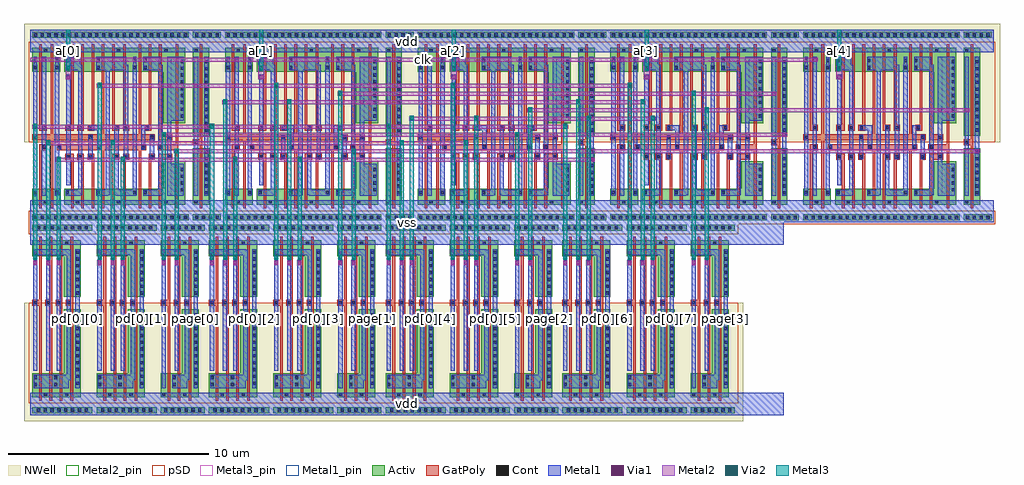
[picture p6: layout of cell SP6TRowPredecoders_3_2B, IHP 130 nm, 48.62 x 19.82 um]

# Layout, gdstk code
import gdstk
lib = gdstk.Library(unit=1e-6, precision=1e-09)
def R(c, l, rs):  # rectangles x0, y0, x1, y1
    for r in rs: c.add(gdstk.rectangle(r[:2], r[2:], *l))
def A(c, l, x, y, w, h, nx, ny, dx, dy):  # array of equal rectangles
    R(c, l, [(x+i*dx, y+j*dy, x+i*dx+w, y+j*dy+h) for i in range(nx) for j in range(ny)])
def P(c, l, *ps):  # polygons
    for p in ps: c.add(gdstk.Polygon(p, *l))
Activ = (1, 0)
GatPoly = (5, 0)
Cont = (6, 0)
Metal1 = (8, 0)
Metal1_pin = (8, 2)
Metal2 = (10, 0)
Metal2_pin = (10, 2)
pSD = (14, 0)
Via1 = (19, 0)
Via2 = (29, 0)
Metal3 = (30, 0)
Metal3_pin = (30, 2)
NWell = (31, 0)

sp6tdec_dff_x1 = lib.new_cell('SP6TDec_dff_x1')
R(sp6tdec_dff_x1, Activ, [(0.105,0.105,7.895,0.405), (0.105,0.89,1.485,1.67), (0.105,7.51,1.485,8.71), (0.105,9.195,7.895,9.495)])
P(sp6tdec_dff_x1, Activ, [(6.615,4.94),(6.615,7.51),(1.695,7.51),(1.695,8.71),(7.725,8.71),(7.725,4.94)],
  [(1.695,0.89),(1.695,1.67),(6.615,1.67),(6.615,3.06),(7.725,3.06),(7.725,0.89)])
P(sp6tdec_dff_x1, GatPoly, [(2.035,0.71),(2.035,3.13),(1.755,3.13),(1.755,3.43),(2.165,3.43),(2.165,0.71)],
  [(6.415,4.09),(6.415,8.89),(6.545,8.89),(6.545,4.39),(7.075,4.39),(7.075,4.09)],
  [(1.755,4.57),(1.755,4.87),(2.035,4.87),(2.035,8.89),(2.165,8.89),(2.165,4.57)],
  [(6.415,0.71),(6.415,3.43),(7.075,3.43),(7.075,3.13),(6.545,3.13),(6.545,0.71)],
  [(5.905,0.71),(5.905,3.43),(6.215,3.43),(6.215,3.13),(6.035,3.13),(6.035,0.71)],
  [(2.545,0.71),(2.545,3.13),(2.345,3.13),(2.345,3.43),(2.675,3.43),(2.675,0.71)],
  [(3.055,0.71),(3.055,3.13),(2.855,3.13),(2.855,3.43),(3.185,3.43),(3.185,0.71)],
  [(0.445,0.71),(0.445,3.91),(0.835,3.91),(0.835,3.61),(0.575,3.61),(0.575,0.71)],
  [(3.565,0.71),(3.565,3.61),(1.325,3.61),(1.325,3.91),(5.785,3.91),(5.785,3.61),(5.525,3.61),(5.525,0.71),(5.395,0.71),(5.395,3.61),(3.695,3.61),(3.695,0.71)],
  [(4.625,0.71),(4.625,3.43),(4.925,3.43),(4.925,3.13),(4.755,3.13),(4.755,0.71)],
  [(4.075,0.71),(4.075,3.43),(4.445,3.43),(4.445,3.13),(4.205,3.13),(4.205,0.71)],
  [(7.255,0.71),(7.255,3.61),(6.345,3.61),(6.345,3.91),(7.255,3.91),(7.255,8.89),(7.385,8.89),(7.385,0.71)],
  [(1.015,0.71),(1.015,4.09),(0.105,4.09),(0.105,4.39),(1.015,4.39),(1.015,8.89),(1.145,8.89),(1.145,4.39),(3.565,4.39),(3.565,8.89),(3.695,8.89),(3.695,4.39),(5.395,4.39),(5.395,8.89),(5.525,8.89),(5.525,4.39),(6.215,4.39),(6.215,4.09),(1.145,4.09),(1.145,0.71)],
  [(4.625,4.57),(4.625,8.89),(4.755,8.89),(4.755,4.87),(4.925,4.87),(4.925,4.57)],
  [(4.075,4.57),(4.075,8.89),(4.205,8.89),(4.205,4.87),(4.445,4.87),(4.445,4.57)],
  [(0.445,4.57),(0.445,8.89),(0.575,8.89),(0.575,4.87),(0.835,4.87),(0.835,4.57)],
  [(2.345,4.57),(2.345,4.87),(2.545,4.87),(2.545,8.89),(2.675,8.89),(2.675,4.57)],
  [(2.855,4.57),(2.855,4.87),(3.055,4.87),(3.055,8.89),(3.185,8.89),(3.185,4.57)],
  [(5.705,4.57),(5.705,4.87),(5.905,4.87),(5.905,8.89),(6.035,8.89),(6.035,4.57)])
A(sp6tdec_dff_x1, Cont, 0.18, 0.175, 0.16, 0.16, 23, 2, 0.34, 9.09)
A(sp6tdec_dff_x1, Cont, 7.495, 1.545, 0.16, 0.16, 1, 4, 0, 0.34)
A(sp6tdec_dff_x1, Cont, 7.495, 5.225, 0.16, 0.16, 1, 9, 0, 0.34)
R(sp6tdec_dff_x1, Cont, [(0.685,0.96,0.845,1.12), (2.275,0.96,2.435,1.12), (4.315,0.96,4.475,1.12), (6.685,0.96,6.845,1.12), (0.175,1.415,0.335,1.575), (1.255,1.415,1.415,1.575), (1.765,1.415,1.925,1.575), (3.295,1.415,3.455,1.575), (5.125,1.415,5.285,1.575), (5.635,1.415,5.795,1.575), (1.825,3.2,1.985,3.36), (2.415,3.2,2.575,3.36), (2.925,3.2,3.085,3.36), (4.215,3.2,4.375,3.36), (4.695,3.2,4.855,3.36), (5.985,3.2,6.145,3.36), (6.845,3.2,7.005,3.36), (0.605,3.68,0.765,3.84), (1.395,3.68,1.555,3.84), (3.355,3.68,3.515,3.84), (5.555,3.68,5.715,3.84), (6.415,3.68,6.575,3.84), (0.175,4.16,0.335,4.32), (2.925,4.16,3.085,4.32), (5.985,4.16,6.145,4.32), (6.845,4.16,7.005,4.32), (0.605,4.64,0.765,4.8), (1.825,4.64,1.985,4.8), (2.415,4.64,2.575,4.8), (2.925,4.64,3.085,4.8), (4.215,4.64,4.375,4.8), (4.695,4.64,4.855,4.8), (5.775,4.64,5.935,4.8), (0.175,7.645,0.335,7.805), (1.255,7.645,1.415,7.805), (1.765,7.645,1.925,7.805), (3.295,7.645,3.455,7.805), (5.125,7.645,5.285,7.805), (5.635,7.645,5.795,7.805), (0.175,7.985,0.335,8.145), (1.255,7.985,1.415,8.145), (1.765,7.985,1.925,8.145), (3.295,7.985,3.455,8.145), (5.125,7.985,5.285,8.145), (5.635,7.985,5.795,8.145), (0.685,8.48,0.845,8.64), (2.275,8.48,2.435,8.64), (4.315,8.48,4.475,8.64), (6.685,8.48,6.845,8.64)])
R(sp6tdec_dff_x1, Metal1, [(0,0,8,1.12), (0.58,1.34,0.79,8.26), (1.8,1.845,2.01,7.375), (2.9,3.15,3.11,4.37), (5.96,3.15,6.17,4.37), (0,8.48,8,9.6)])
P(sp6tdec_dff_x1, Metal1, [(0.175,1.34),(0.175,1.365),(0.15,1.365),(0.15,7.855),(0.175,7.855),(0.175,8.26),(0.335,8.26),(0.335,7.855),(0.36,7.855),(0.36,1.365),(0.335,1.365),(0.335,1.34)],
  [(5.53,3.63),(5.53,4.85),(5.935,4.85),(5.935,4.59),(5.74,4.59),(5.74,3.63)],
  [(3.33,3.63),(3.33,4.59),(2.925,4.59),(2.925,4.85),(3.54,4.85),(3.54,3.63)],
  [(3.295,1.34),(3.295,1.625),(3.76,1.625),(3.76,7.595),(3.295,7.595),(3.295,8.26),(4.775,8.26),(4.775,7.855),(4.88,7.855),(4.88,3.15),(4.67,3.15),(4.67,7.595),(3.97,7.595),(3.97,1.365),(3.865,1.365),(3.865,1.34)],
  [(1.255,1.34),(1.255,1.365),(1.23,1.365),(1.23,7.855),(1.255,7.855),(1.255,8.26),(1.415,8.26),(1.415,7.855),(1.44,7.855),(1.44,3.89),(1.555,3.89),(1.555,3.63),(1.44,3.63),(1.44,1.365),(1.415,1.365),(1.415,1.34)],
  [(1.765,1.34),(1.765,1.625),(2.39,1.625),(2.39,7.595),(1.765,7.595),(1.765,8.26),(2.495,8.26),(2.495,7.855),(2.6,7.855),(2.6,1.365),(2.495,1.365),(2.495,1.34)],
  [(4.295,1.34),(4.295,1.365),(4.19,1.365),(4.19,4.85),(4.4,4.85),(4.4,1.625),(5.1,1.625),(5.1,7.855),(5.125,7.855),(5.125,8.26),(5.285,8.26),(5.285,7.855),(5.31,7.855),(5.31,1.365),(5.285,1.365),(5.285,1.34)],
  [(5.635,1.34),(5.635,1.625),(6.39,1.625),(6.39,7.595),(5.635,7.595),(5.635,8.26),(6.495,8.26),(6.495,7.855),(6.6,7.855),(6.6,1.365),(6.495,1.365),(6.495,1.34)],
  [(6.82,1.34),(6.82,8.26),(7.655,8.26),(7.655,5.07),(7.03,5.07),(7.03,2.93),(7.655,2.93),(7.655,1.34)])
R(sp6tdec_dff_x1, Metal1_pin, [(0,0,8,1.12), (0.58,1.34,0.79,8.26), (6.82,1.34,7.03,8.26), (1.8,1.845,2.01,7.375), (0,8.48,8,9.6)])
R(sp6tdec_dff_x1, pSD, [(-0.075,-0.075,8.075,0.585), (-0.075,4,8.075,9.01)])
R(sp6tdec_dff_x1, NWell, [(-0.31,4,8.31,9.91)])
sp6tdec_dff_x1.add(gdstk.Label('vdd', (4,9.04), layer=8, texttype=25))
sp6tdec_dff_x1.add(gdstk.Label('vss', (4,0.56), layer=8, texttype=25))
sp6tdec_dff_x1.add(gdstk.Label('clk', (0.685,4.8), layer=8, texttype=25))
sp6tdec_dff_x1.add(gdstk.Label('i', (1.905,4.61), layer=8, texttype=25))
sp6tdec_dff_x1.add(gdstk.Label('q', (6.925,4.8), layer=8, texttype=25))

sp6tdec_inv_x1 = lib.new_cell('SP6TDec_inv_x1')
R(sp6tdec_inv_x1, Activ, [(0.105,0.105,1.495,0.405), (0.105,0.89,0.915,3.69), (0.105,4.31,0.915,8.71), (0.105,9.195,1.495,9.495)])
P(sp6tdec_inv_x1, GatPoly, [(0.445,0.71),(0.445,3.85),(0.105,3.85),(0.105,4.15),(0.445,4.15),(0.445,8.89),(0.575,8.89),(0.575,0.71)])
A(sp6tdec_inv_x1, Cont, 0.21, 0.175, 0.16, 0.16, 4, 2, 0.34, 9.09)
A(sp6tdec_inv_x1, Cont, 0.685, 1.395, 0.16, 0.16, 1, 7, 0, 0.34)
A(sp6tdec_inv_x1, Cont, 0.685, 4.525, 0.16, 0.16, 1, 11, 0, 0.34)
R(sp6tdec_inv_x1, Cont, [(0.175,0.96,0.335,1.12), (0.175,3.92,0.335,4.08), (0.175,8.48,0.335,8.64)])
R(sp6tdec_inv_x1, Metal1, [(0,0,1.6,1.12), (0.15,1.34,0.36,8.26), (0.66,1.34,0.87,8.26), (0,8.48,1.6,9.6)])
R(sp6tdec_inv_x1, Metal1_pin, [(0,0,1.6,1.12), (0.15,1.34,0.36,8.26), (0.66,1.34,0.87,8.26), (0,8.48,1.6,9.6)])
R(sp6tdec_inv_x1, pSD, [(-0.075,-0.075,1.675,0.585), (-0.075,4,1.675,9.01)])
R(sp6tdec_inv_x1, NWell, [(-0.31,4,1.91,9.91)])
sp6tdec_inv_x1.add(gdstk.Label('vss', (0.8,0.56), layer=8, texttype=25))
sp6tdec_inv_x1.add(gdstk.Label('vdd', (0.8,9.04), layer=8, texttype=25))
sp6tdec_inv_x1.add(gdstk.Label('nq', (0.765,4.8), layer=8, texttype=25))
sp6tdec_inv_x1.add(gdstk.Label('i', (0.255,4.8), layer=8, texttype=25))

sp6tdec_and3_x1 = lib.new_cell('SP6TDec_and3_x1')
R(sp6tdec_and3_x1, Activ, [(0.105,0.105,3.095,0.405), (0.105,9.195,3.095,9.495)])
P(sp6tdec_and3_x1, Activ, [(1.665,4.31),(1.665,7.51),(0.105,7.51),(0.105,8.71),(2.505,8.71),(2.505,4.31)],
  [(0.105,0.89),(0.105,1.67),(1.665,1.67),(1.665,3.69),(2.505,3.69),(2.505,0.89)])
P(sp6tdec_and3_x1, GatPoly, [(2.005,0.71),(2.005,3.85),(1.775,3.85),(1.775,4.15),(2.005,4.15),(2.005,8.89),(2.135,8.89),(2.135,0.71)],
  [(0.445,0.71),(0.445,3.85),(0.105,3.85),(0.105,4.15),(0.445,4.15),(0.445,8.89),(0.575,8.89),(0.575,0.71)],
  [(0.955,0.71),(0.955,3.85),(0.755,3.85),(0.755,4.15),(0.955,4.15),(0.955,8.89),(1.085,8.89),(1.085,0.71)],
  [(1.465,0.71),(1.465,3.85),(1.265,3.85),(1.265,4.15),(1.465,4.15),(1.465,8.89),(1.595,8.89),(1.595,0.71)])
A(sp6tdec_and3_x1, Cont, 0.33, 0.175, 0.16, 0.16, 8, 2, 0.34, 9.09)
A(sp6tdec_and3_x1, Cont, 2.275, 1.395, 0.16, 0.16, 1, 7, 0, 0.34)
A(sp6tdec_and3_x1, Cont, 0.825, 3.92, 0.16, 0.16, 3, 1, 0.51, 0)
A(sp6tdec_and3_x1, Cont, 2.275, 4.525, 0.16, 0.16, 1, 11, 0, 0.34)
R(sp6tdec_and3_x1, Cont, [(1.735,0.96,1.895,1.12), (0.175,1.415,0.335,1.575), (0.175,3.92,0.335,4.08), (0.175,7.645,0.335,7.805), (1.195,7.645,1.355,7.805), (0.175,7.985,0.335,8.145), (1.195,7.985,1.355,8.145), (0.685,8.48,0.845,8.64), (1.735,8.48,1.895,8.64)])
R(sp6tdec_and3_x1, Metal1, [(0,0,3.2,1.12), (2.25,1.34,2.46,8.26), (0.15,1.845,0.36,7.375), (0.8,1.845,1.01,7.375), (1.31,1.845,1.52,7.375), (0,8.48,3.2,9.6)])
P(sp6tdec_and3_x1, Metal1, [(0.175,1.34),(0.175,1.625),(1.82,1.625),(1.82,7.595),(0.175,7.595),(0.175,8.26),(1.925,8.26),(1.925,7.855),(2.03,7.855),(2.03,1.365),(1.925,1.365),(1.925,1.34)])
R(sp6tdec_and3_x1, Metal1_pin, [(0,0,3.2,1.12), (2.25,1.34,2.46,8.26), (0.15,1.845,0.36,7.375), (0.8,1.845,1.01,7.375), (1.31,1.845,1.52,7.375), (0,8.48,3.2,9.6)])
R(sp6tdec_and3_x1, pSD, [(-0.075,-0.075,3.275,0.585), (-0.075,4,3.275,9.01)])
R(sp6tdec_and3_x1, NWell, [(-0.31,4,3.51,9.91)])
sp6tdec_and3_x1.add(gdstk.Label('vdd', (1.6,9.04), layer=8, texttype=25))
sp6tdec_and3_x1.add(gdstk.Label('vss', (1.6,0.56), layer=8, texttype=25))
sp6tdec_and3_x1.add(gdstk.Label('i0', (0.255,4.61), layer=8, texttype=25))
sp6tdec_and3_x1.add(gdstk.Label('i1', (0.905,4.61), layer=8, texttype=25))
sp6tdec_and3_x1.add(gdstk.Label('i2', (1.415,4.61), layer=8, texttype=25))
sp6tdec_and3_x1.add(gdstk.Label('q', (2.355,4.8), layer=8, texttype=25))

sp6tdec_and2_x1 = lib.new_cell('SP6TDec_and2_x1')
R(sp6tdec_and2_x1, Activ, [(0.105,0.105,2.295,0.405), (0.105,9.195,2.295,9.495)])
P(sp6tdec_and2_x1, Activ, [(0.105,0.89),(0.105,1.67),(1.155,1.67),(1.155,3.69),(1.995,3.69),(1.995,0.89)],
  [(1.155,4.31),(1.155,7.51),(0.105,7.51),(0.105,8.71),(1.995,8.71),(1.995,4.31)])
P(sp6tdec_and2_x1, GatPoly, [(1.495,0.71),(1.495,3.85),(1.265,3.85),(1.265,4.15),(1.495,4.15),(1.495,8.89),(1.625,8.89),(1.625,0.71)],
  [(0.445,0.71),(0.445,3.85),(0.105,3.85),(0.105,4.15),(0.445,4.15),(0.445,8.89),(0.575,8.89),(0.575,0.71)],
  [(0.955,0.71),(0.955,3.85),(0.755,3.85),(0.755,4.15),(0.955,4.15),(0.955,8.89),(1.085,8.89),(1.085,0.71)])
A(sp6tdec_and2_x1, Cont, 0.27, 0.175, 0.16, 0.16, 6, 2, 0.34, 9.09)
A(sp6tdec_and2_x1, Cont, 1.765, 1.395, 0.16, 0.16, 1, 7, 0, 0.34)
A(sp6tdec_and2_x1, Cont, 1.765, 4.525, 0.16, 0.16, 1, 11, 0, 0.34)
R(sp6tdec_and2_x1, Cont, [(1.225,0.96,1.385,1.12), (0.175,1.415,0.335,1.575), (0.175,3.92,0.335,4.08), (0.825,3.92,0.985,4.08), (1.335,3.92,1.495,4.08), (0.685,7.645,0.845,7.805), (0.685,7.985,0.845,8.145), (0.175,8.48,0.335,8.64), (1.225,8.48,1.385,8.64)])
R(sp6tdec_and2_x1, Metal1, [(0,0,2.4,1.12), (1.74,1.34,1.95,8.26), (0.15,1.845,0.36,8.26), (0.8,1.845,1.01,7.375), (0,8.48,2.4,9.6)])
P(sp6tdec_and2_x1, Metal1, [(0.175,1.34),(0.175,1.625),(1.31,1.625),(1.31,7.595),(0.685,7.595),(0.685,8.26),(1.415,8.26),(1.415,7.855),(1.52,7.855),(1.52,1.365),(1.415,1.365),(1.415,1.34)])
R(sp6tdec_and2_x1, Metal1_pin, [(0,0,2.4,1.12), (1.74,1.34,1.95,8.26), (0.15,1.845,0.36,8.26), (0.8,1.845,1.01,7.375), (0,8.48,2.4,9.6)])
R(sp6tdec_and2_x1, pSD, [(-0.075,-0.075,2.475,0.585), (-0.075,4,2.475,9.01)])
R(sp6tdec_and2_x1, NWell, [(-0.31,4,2.71,9.91)])
sp6tdec_and2_x1.add(gdstk.Label('vdd', (1.2,9.04), layer=8, texttype=25))
sp6tdec_and2_x1.add(gdstk.Label('vss', (1.2,0.56), layer=8, texttype=25))
sp6tdec_and2_x1.add(gdstk.Label('i0', (0.255,5.053), layer=8, texttype=25))
sp6tdec_and2_x1.add(gdstk.Label('i1', (0.905,4.61), layer=8, texttype=25))
sp6tdec_and2_x1.add(gdstk.Label('q', (1.845,4.8), layer=8, texttype=25))

sp6trowpredecoders_3_2b = lib.new_cell('SP6TRowPredecoders_3_2B')
A(sp6trowpredecoders_3_2b, Metal1, 1.8, 16.685, 0.21, 0.29, 5, 1, 9.6, 0)
A(sp6trowpredecoders_3_2b, Metal1, 0.58, 17.57, 0.21, 0.29, 5, 1, 9.6, 0)
R(sp6trowpredecoders_3_2b, Metal1, [(0,0,37.54,1.12), (2.25,1.34,2.46,8.26), (5.45,1.34,5.66,8.26), (8.14,1.34,8.35,8.26), (11.05,1.34,11.26,8.26), (14.25,1.34,14.46,8.26), (16.94,1.34,17.15,8.26), (19.85,1.34,20.06,8.26), (23.05,1.34,23.26,8.26), (25.74,1.34,25.95,8.26), (28.65,1.34,28.86,8.26), (31.85,1.34,32.06,8.26), (34.54,1.34,34.75,8.26), (0.15,7.465,0.36,7.755), (0.8,7.465,1.01,7.755), (1.31,7.465,1.52,7.755), (3.35,7.465,3.56,7.755), (4,7.465,4.21,7.755), (4.51,7.465,4.72,7.755), (6.55,7.465,6.76,7.755), (7.2,7.465,7.41,7.755), (8.95,7.465,9.16,7.755), (9.6,7.465,9.81,7.755), (10.11,7.465,10.32,7.755), (12.15,7.465,12.36,7.755), (12.8,7.465,13.01,7.755), (13.31,7.465,13.52,7.755), (15.35,7.465,15.56,7.755), (16,7.465,16.21,7.755), (17.75,7.465,17.96,7.755), (18.4,7.465,18.61,7.755), (18.91,7.465,19.12,7.755), (20.95,7.465,21.16,7.755), (21.6,7.465,21.81,7.755), (22.11,7.465,22.32,7.755), (24.15,7.465,24.36,7.755), (24.8,7.465,25.01,7.755), (26.55,7.465,26.76,7.755), (27.2,7.465,27.41,7.755), (27.71,7.465,27.92,7.755), (29.75,7.465,29.96,7.755), (30.4,7.465,30.61,7.755), (30.91,7.465,31.12,7.755), (32.95,7.465,33.16,7.755), (33.6,7.465,33.81,7.755), (0,8.48,37.54,10.72), (27.86,12.585,28.07,12.875), (47.06,12.995,47.27,13.285), (18.26,13.405,18.47,13.695), (37.46,13.815,37.67,14.105), (8.66,14.225,8.87,14.515), (26.02,14.635,26.23,14.925), (27.35,14.635,27.56,14.925), (45.22,15.045,45.43,15.335), (46.55,15.045,46.76,15.335), (16.42,15.455,16.63,15.745), (17.75,15.455,17.96,15.745), (35.62,15.865,35.83,16.155), (36.95,15.865,37.16,16.155), (6.82,16.275,7.03,16.565), (8.15,16.275,8.36,16.565), (0,18.08,37.54,19.2)])
R(sp6trowpredecoders_3_2b, Metal1_pin, [(0,0,37.54,1.12), (2.25,1.34,2.46,8.26), (5.45,1.34,5.66,8.26), (8.14,1.34,8.35,8.26), (11.05,1.34,11.26,8.26), (14.25,1.34,14.46,8.26), (16.94,1.34,17.15,8.26), (19.85,1.34,20.06,8.26), (23.05,1.34,23.26,8.26), (25.74,1.34,25.95,8.26), (28.65,1.34,28.86,8.26), (31.85,1.34,32.06,8.26), (34.54,1.34,34.75,8.26), (0,8.48,37.54,10.72), (0,18.08,37.54,19.2)])
A(sp6trowpredecoders_3_2b, Metal2, 1.76, 16.73, 0.29, 0.675, 5, 1, 9.6, 0)
R(sp6trowpredecoders_3_2b, Metal2, [(0.155,7.465,0.355,8.185), (0.805,7.465,1.005,8.185), (1.315,7.465,1.515,8.185), (3.355,7.465,3.555,8.185), (4.005,7.465,4.205,8.185), (4.515,7.465,4.715,8.185), (6.555,7.465,6.755,8.185), (7.205,7.465,7.405,8.185), (8.955,7.465,9.155,8.185), (9.605,7.465,9.805,8.185), (10.115,7.465,10.315,8.185), (12.155,7.465,12.355,8.185), (12.805,7.465,13.005,8.185), (13.315,7.465,13.515,8.185), (15.355,7.465,15.555,8.185), (16.005,7.465,16.205,8.185), (17.755,7.465,17.955,8.185), (18.405,7.465,18.605,8.185), (18.915,7.465,19.115,8.185), (20.955,7.465,21.155,8.185), (21.605,7.465,21.805,8.185), (22.115,7.465,22.315,8.185), (24.155,7.465,24.355,8.185), (24.805,7.465,25.005,8.185), (26.555,7.465,26.755,8.185), (27.205,7.465,27.405,8.185), (27.715,7.465,27.915,8.185), (29.755,7.465,29.955,8.185), (30.405,7.465,30.605,8.185), (30.915,7.465,31.115,8.185), (32.955,7.465,33.155,8.185), (33.605,7.465,33.805,8.185), (1.27,12.63,28.11,12.83), (7.16,13.04,47.31,13.24), (0.76,13.45,21.85,13.65), (6.51,13.86,37.71,14.06), (0.11,14.27,26.8,14.47), (18.87,14.68,31.16,14.88), (24.76,15.09,46.8,15.29), (9.56,15.5,30.65,15.7), (15.31,15.91,37.2,16.11), (3.31,16.32,30,16.52), (0,17.615,39.23,17.815)])
R(sp6trowpredecoders_3_2b, Metal2_pin, [(0,17.615,39.23,17.815)])
A(sp6trowpredecoders_3_2b, Via1, 1.81, 16.735, 0.19, 0.19, 5, 1, 9.6, 0)
A(sp6trowpredecoders_3_2b, Via1, 0.59, 17.62, 0.19, 0.19, 5, 1, 9.6, 0)
R(sp6trowpredecoders_3_2b, Via1, [(0.16,7.515,0.35,7.705), (0.81,7.515,1,7.705), (1.32,7.515,1.51,7.705), (3.36,7.515,3.55,7.705), (4.01,7.515,4.2,7.705), (4.52,7.515,4.71,7.705), (6.56,7.515,6.75,7.705), (7.21,7.515,7.4,7.705), (8.96,7.515,9.15,7.705), (9.61,7.515,9.8,7.705), (10.12,7.515,10.31,7.705), (12.16,7.515,12.35,7.705), (12.81,7.515,13,7.705), (13.32,7.515,13.51,7.705), (15.36,7.515,15.55,7.705), (16.01,7.515,16.2,7.705), (17.76,7.515,17.95,7.705), (18.41,7.515,18.6,7.705), (18.92,7.515,19.11,7.705), (20.96,7.515,21.15,7.705), (21.61,7.515,21.8,7.705), (22.12,7.515,22.31,7.705), (24.16,7.515,24.35,7.705), (24.81,7.515,25,7.705), (26.56,7.515,26.75,7.705), (27.21,7.515,27.4,7.705), (27.72,7.515,27.91,7.705), (29.76,7.515,29.95,7.705), (30.41,7.515,30.6,7.705), (30.92,7.515,31.11,7.705), (32.96,7.515,33.15,7.705), (33.61,7.515,33.8,7.705), (27.87,12.635,28.06,12.825), (47.07,13.045,47.26,13.235), (18.27,13.455,18.46,13.645), (37.47,13.865,37.66,14.055), (8.67,14.275,8.86,14.465), (26.03,14.685,26.22,14.875), (27.36,14.685,27.55,14.875), (45.23,15.095,45.42,15.285), (46.56,15.095,46.75,15.285), (16.43,15.505,16.62,15.695), (17.76,15.505,17.95,15.695), (35.63,15.915,35.82,16.105), (36.96,15.915,37.15,16.105), (6.83,16.325,7.02,16.515), (8.16,16.325,8.35,16.515)])
A(sp6trowpredecoders_3_2b, Via2, 0.16, 14.275, 0.19, 0.19, 4, 1, 8.8, 0)
A(sp6trowpredecoders_3_2b, Via2, 3.36, 16.325, 0.19, 0.19, 4, 1, 8.8, 0)
A(sp6trowpredecoders_3_2b, Via2, 1.81, 17.21, 0.19, 0.19, 5, 1, 9.6, 0)
R(sp6trowpredecoders_3_2b, Via2, [(0.16,7.805,0.35,7.995), (0.81,7.805,1,7.995), (1.32,7.805,1.51,7.995), (3.36,7.805,3.55,7.995), (4.01,7.805,4.2,7.995), (4.52,7.805,4.71,7.995), (6.56,7.805,6.75,7.995), (7.21,7.805,7.4,7.995), (8.96,7.805,9.15,7.995), (9.61,7.805,9.8,7.995), (10.12,7.805,10.31,7.995), (12.16,7.805,12.35,7.995), (12.81,7.805,13,7.995), (13.32,7.805,13.51,7.995), (15.36,7.805,15.55,7.995), (16.01,7.805,16.2,7.995), (17.76,7.805,17.95,7.995), (18.41,7.805,18.6,7.995), (18.92,7.805,19.11,7.995), (20.96,7.805,21.15,7.995), (21.61,7.805,21.8,7.995), (22.12,7.805,22.31,7.995), (24.16,7.805,24.35,7.995), (24.81,7.805,25,7.995), (26.56,7.805,26.75,7.995), (27.21,7.805,27.4,7.995), (27.72,7.805,27.91,7.995), (29.76,7.805,29.95,7.995), (30.41,7.805,30.6,7.995), (30.92,7.805,31.11,7.995), (32.96,7.805,33.15,7.995), (33.61,7.805,33.8,7.995), (1.32,12.635,1.51,12.825), (4.52,12.635,4.71,12.825), (10.12,12.635,10.31,12.825), (13.32,12.635,13.51,12.825), (7.21,13.045,7.4,13.235), (16.01,13.045,16.2,13.235), (0.81,13.455,1,13.645), (4.01,13.455,4.2,13.645), (18.41,13.455,18.6,13.645), (21.61,13.455,21.8,13.645), (6.56,13.865,6.75,14.055), (24.16,13.865,24.35,14.055), (18.92,14.685,19.11,14.875), (22.12,14.685,22.31,14.875), (27.72,14.685,27.91,14.875), (30.92,14.685,31.11,14.875), (24.81,15.095,25,15.285), (33.61,15.095,33.8,15.285), (9.61,15.505,9.8,15.695), (12.81,15.505,13,15.695), (27.21,15.505,27.4,15.695), (30.41,15.505,30.6,15.695), (15.36,15.915,15.55,16.105), (32.96,15.915,33.15,16.105)])
A(sp6trowpredecoders_3_2b, Metal3, 0.155, 7.755, 0.2, 6.76, 4, 1, 8.8, 0)
A(sp6trowpredecoders_3_2b, Metal3, 3.355, 7.755, 0.2, 8.81, 4, 1, 8.8, 0)
A(sp6trowpredecoders_3_2b, Metal3, 1.805, 17.16, 0.2, 2.04, 5, 1, 9.6, 0)
R(sp6trowpredecoders_3_2b, Metal3, [(0.805,7.755,1.005,13.695), (1.315,7.755,1.515,12.875), (4.005,7.755,4.205,13.695), (4.515,7.755,4.715,12.875), (6.555,7.755,6.755,14.105), (7.205,7.755,7.405,13.285), (9.605,7.755,9.805,15.745), (10.115,7.755,10.315,12.875), (12.805,7.755,13.005,15.745), (13.315,7.755,13.515,12.875), (15.355,7.755,15.555,16.155), (16.005,7.755,16.205,13.285), (18.405,7.755,18.605,13.695), (18.915,7.755,19.115,14.925), (21.605,7.755,21.805,13.695), (22.115,7.755,22.315,14.925), (24.155,7.755,24.355,14.105), (24.805,7.755,25.005,15.335), (27.205,7.755,27.405,15.745), (27.715,7.755,27.915,14.925), (30.405,7.755,30.605,15.745), (30.915,7.755,31.115,14.925), (32.955,7.755,33.155,16.155), (33.605,7.755,33.805,15.335)])
A(sp6trowpredecoders_3_2b, Metal3_pin, 1.805, 17.16, 0.2, 2.04, 5, 1, 9.6, 0)
sp6trowpredecoders_3_2b.add(gdstk.Reference(sp6tdec_dff_x1, (0,9.6)))
sp6trowpredecoders_3_2b.add(gdstk.Reference(sp6tdec_dff_x1, (9.6,9.6)))
sp6trowpredecoders_3_2b.add(gdstk.Reference(sp6tdec_dff_x1, (19.2,9.6)))
sp6trowpredecoders_3_2b.add(gdstk.Reference(sp6tdec_dff_x1, (28.8,9.6)))
sp6trowpredecoders_3_2b.add(gdstk.Reference(sp6tdec_dff_x1, (38.4,9.6)))
sp6trowpredecoders_3_2b.add(gdstk.Reference(sp6tdec_inv_x1, (8,9.6)))
sp6trowpredecoders_3_2b.add(gdstk.Reference(sp6tdec_inv_x1, (17.6,9.6)))
sp6trowpredecoders_3_2b.add(gdstk.Reference(sp6tdec_inv_x1, (27.2,9.6)))
sp6trowpredecoders_3_2b.add(gdstk.Reference(sp6tdec_inv_x1, (36.8,9.6)))
sp6trowpredecoders_3_2b.add(gdstk.Reference(sp6tdec_inv_x1, (46.4,9.6)))
sp6trowpredecoders_3_2b.add(gdstk.Reference(sp6tdec_and3_x1, (0,9.6), x_reflection=True))
sp6trowpredecoders_3_2b.add(gdstk.Reference(sp6tdec_and3_x1, (3.2,9.6), x_reflection=True))
sp6trowpredecoders_3_2b.add(gdstk.Reference(sp6tdec_and3_x1, (8.8,9.6), x_reflection=True))
sp6trowpredecoders_3_2b.add(gdstk.Reference(sp6tdec_and3_x1, (12,9.6), x_reflection=True))
sp6trowpredecoders_3_2b.add(gdstk.Reference(sp6tdec_and3_x1, (17.6,9.6), x_reflection=True))
sp6trowpredecoders_3_2b.add(gdstk.Reference(sp6tdec_and3_x1, (20.8,9.6), x_reflection=True))
sp6trowpredecoders_3_2b.add(gdstk.Reference(sp6tdec_and3_x1, (26.4,9.6), x_reflection=True))
sp6trowpredecoders_3_2b.add(gdstk.Reference(sp6tdec_and3_x1, (29.6,9.6), x_reflection=True))
sp6trowpredecoders_3_2b.add(gdstk.Reference(sp6tdec_and2_x1, (6.4,9.6), x_reflection=True))
sp6trowpredecoders_3_2b.add(gdstk.Reference(sp6tdec_and2_x1, (15.2,9.6), x_reflection=True))
sp6trowpredecoders_3_2b.add(gdstk.Reference(sp6tdec_and2_x1, (24,9.6), x_reflection=True))
sp6trowpredecoders_3_2b.add(gdstk.Reference(sp6tdec_and2_x1, (32.8,9.6), x_reflection=True))
sp6trowpredecoders_3_2b.add(gdstk.Label('clk', (19.615,17.715), layer=10, texttype=25))
sp6trowpredecoders_3_2b.add(gdstk.Label('a[0]', (1.905,18.18), layer=30, texttype=25))
sp6trowpredecoders_3_2b.add(gdstk.Label('a[1]', (11.505,18.18), layer=30, texttype=25))
sp6trowpredecoders_3_2b.add(gdstk.Label('a[2]', (21.105,18.18), layer=30, texttype=25))
sp6trowpredecoders_3_2b.add(gdstk.Label('a[3]', (30.705,18.18), layer=30, texttype=25))
sp6trowpredecoders_3_2b.add(gdstk.Label('a[4]', (40.305,18.18), layer=30, texttype=25))
sp6trowpredecoders_3_2b.add(gdstk.Label('page[3]', (34.645,4.8), layer=8, texttype=25))
sp6trowpredecoders_3_2b.add(gdstk.Label('vss', (18.77,9.6), layer=8, texttype=25))
sp6trowpredecoders_3_2b.add(gdstk.Label('page[2]', (25.845,4.8), layer=8, texttype=25))
sp6trowpredecoders_3_2b.add(gdstk.Label('pd[0][0]', (2.355,4.8), layer=8, texttype=25))
sp6trowpredecoders_3_2b.add(gdstk.Label('vdd', (18.77,0.56), layer=8, texttype=25))
sp6trowpredecoders_3_2b.add(gdstk.Label('vdd', (18.77,18.64), layer=8, texttype=25))
sp6trowpredecoders_3_2b.add(gdstk.Label('pd[0][2]', (11.155,4.8), layer=8, texttype=25))
sp6trowpredecoders_3_2b.add(gdstk.Label('pd[0][7]', (31.955,4.8), layer=8, texttype=25))
sp6trowpredecoders_3_2b.add(gdstk.Label('pd[0][3]', (14.355,4.8), layer=8, texttype=25))
sp6trowpredecoders_3_2b.add(gdstk.Label('pd[0][5]', (23.155,4.8), layer=8, texttype=25))
sp6trowpredecoders_3_2b.add(gdstk.Label('pd[0][6]', (28.755,4.8), layer=8, texttype=25))
sp6trowpredecoders_3_2b.add(gdstk.Label('pd[0][1]', (5.555,4.8), layer=8, texttype=25))
sp6trowpredecoders_3_2b.add(gdstk.Label('page[0]', (8.245,4.8), layer=8, texttype=25))
sp6trowpredecoders_3_2b.add(gdstk.Label('page[1]', (17.045,4.8), layer=8, texttype=25))
sp6trowpredecoders_3_2b.add(gdstk.Label('pd[0][4]', (19.955,4.8), layer=8, texttype=25))

lib.write_gds('SP6TRowPredecoders_3_2B.gds')
